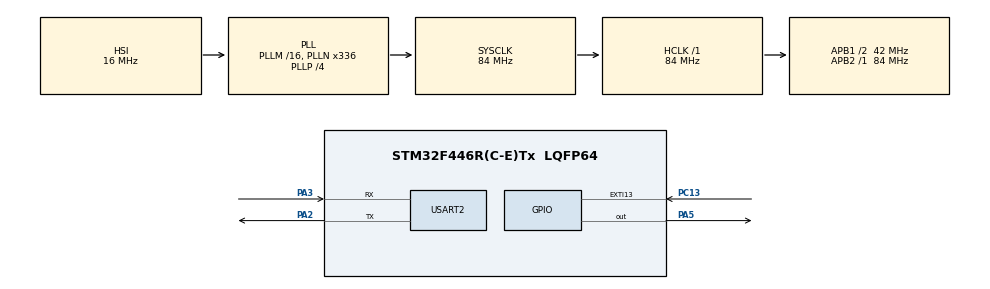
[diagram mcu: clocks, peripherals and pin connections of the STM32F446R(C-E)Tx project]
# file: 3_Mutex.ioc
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FREERTOS.Tasks01=defaultTask,0,128,StartDefaultTask,Default,NULL,Dynamic,NULL,NULL
Mcu.Family=STM32F4
Mcu.Name=STM32F446R(C-E)Tx
Mcu.Package=LQFP64
NVIC.EXTI15_10_IRQn=true\:6\:0\:true\:false\:true\:true\:true\:true\:true
NVIC.PriorityGroup=NVIC_PRIORITYGROUP_4
NVIC.TIM6_DAC_IRQn=true\:0\:0\:false\:false\:true\:false\:false\:true\:true
NVIC.TimeBase=TIM6_DAC_IRQn
NVIC.TimeBaseIP=TIM6
PA2.Mode=Asynchronous
PA2.Signal=USART2_TX
PA3.Mode=Asynchronous
PA3.Signal=USART2_RX
PA5.Signal=GPIO_Output
PC13.Signal=GPXTI13
PC14-OSC32_IN.Mode=LSE-External-Oscillator
PC14-OSC32_IN.Signal=RCC_OSC32_IN
PC15-OSC32_OUT.Mode=LSE-External-Oscillator
PC15-OSC32_OUT.Signal=RCC_OSC32_OUT
ProjectManager.HeapSize=0x200
ProjectManager.StackSize=0x400
ProjectManager.TargetToolchain=STM32CubeIDE
RCC.AHBFreq_Value=84000000
RCC.APB1CLKDivider=RCC_HCLK_DIV2
RCC.APB1Freq_Value=42000000
RCC.APB1TimFreq_Value=84000000
RCC.APB2Freq_Value=84000000
RCC.APB2TimFreq_Value=84000000
RCC.CortexFreq_Value=84000000
RCC.FLatency-AdvancedSettings=FLASH_LATENCY_2
RCC.HCLKFreq_Value=84000000
RCC.HSE_VALUE=8000000
RCC.HSI_VALUE=16000000
RCC.PLLN=336
RCC.PLLP=RCC_PLLP_DIV4
RCC.SYSCLKFreq_VALUE=84000000
RCC.SYSCLKSource=RCC_SYSCLKSOURCE_PLLCLK
RCC.USBFreq_Value=168000000
RCC.VCOOutputFreq_Value=336000000
USART2.VirtualMode=VM_ASYNC
VP_FREERTOS_VS_CMSIS_V1.Mode=CMSIS_V1
VP_SYS_VS_tim6.Mode=TIM6
board=NUCLEO-F446RE

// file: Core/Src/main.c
/* USER CODE BEGIN Header */
/**
  ******************************************************************************
  * @file           : main.c
  * @brief          : Main program body
  ******************************************************************************
  * @attention
  *
  * Copyright (c) 2026 STMicroelectronics.
  * All rights reserved.
  *
  * This software is licensed under terms that can be found in the LICENSE file
  * in the root directory of this software component.
  * If no LICENSE file comes with this software, it is provided AS-IS.
  *
  ******************************************************************************
  */
/* USER CODE END Header */
#include "main.h"

/* USER CODE BEGIN Includes */

#include "FreeRTOS.h"
#include "task.h"
#include "semphr.h"

/* USER CODE END Includes */

UART_HandleTypeDef huart2;

/* USER CODE BEGIN PV */

/************** Semaphore and Task Handles *****************/
SemaphoreHandle_t Mutex_handle;

TaskHandle_t Task01_handle, Task02_handle;
//TaskHandle_t watchDog_handle;

/************** task definition and declarations **************/

void Task01_Entry(void *arg){
	while(1){
		//take the mutex, do something and release, ownership

		xSemaphoreTake(Mutex_handle, portMAX_DELAY);

		// print UART
		HAL_UART_Transmit(&huart2, (uint8_t *)"Task 1 is running\r\n", 19, 10);
		vTaskDelay(pdMS_TO_TICKS(1000));

		xSemaphoreGive(Mutex_handle);

		// block this task so that task 2 get's a chance to run,
		// else Task1 will run at all times as it is having higher prio
		vTaskDelay(pdMS_TO_TICKS(10));

	}
}

void Task02_Entry(void *arg){
	while(1){
		//take the mutex, do something and release, ownership

		xSemaphoreTake(Mutex_handle, portMAX_DELAY);

		// print UART
		HAL_UART_Transmit(&huart2, (uint8_t *)"Task 2 is running\r\n", 19, 10);
		vTaskDelay(1000);

		xSemaphoreGive(Mutex_handle);
	}
}

//void WatchDogRefresh(void *arg){
//	while(1){
//		HAL_IWDG_Refresh(&hiwdg);
//	}
//}

/* USER CODE END PV */

void SystemClock_Config(void);
static void MX_GPIO_Init(void);
static void MX_USART2_UART_Init(void);

int main(void)
{

  /* MCU Configuration--------------------------------------------------------*/

  /* Reset of all peripherals, Initializes the Flash interface and the Systick. */
  HAL_Init();

  /* Configure the system clock */
  SystemClock_Config();

  /* Initialize all configured peripherals */
  MX_GPIO_Init();
  MX_USART2_UART_Init();
  /* USER CODE BEGIN 2 */

  /************ Create semaphore and tasks *******************/
  Mutex_handle = xSemaphoreCreateMutex();
  if(Mutex_handle == NULL){
  	  HAL_UART_Transmit(&huart2, (uint8_t *)"Mutex is not created\r\n", 22, 10);
    }else{
  	  HAL_UART_Transmit(&huart2, (uint8_t *)"Mutex is created\r\n", 18, 10);
    }
  BaseType_t task01_status, task02_status;
  task01_status = xTaskCreate(Task01_Entry, "Task01", 128, NULL, 2, &Task01_handle);
  task02_status = xTaskCreate(Task02_Entry, "Task02", 128, NULL, 1, &Task02_handle);

  if(task01_status == pdTRUE && task02_status == pdTRUE){
  	  HAL_UART_Transmit(&huart2, (uint8_t *)"Tasks are created\r\n", 19, 10);
    }else{
  	  HAL_UART_Transmit(&huart2, (uint8_t *)"Tasks are not created\r\n", 23, 10);
    }

  vTaskStartScheduler();

  /* We should never get here as control is now taken by the scheduler */
  /* USER CODE END 2 */

  /* Infinite loop */
  while (1)
  {

  }
}

void SystemClock_Config(void)
{
  RCC_OscInitTypeDef RCC_OscInitStruct = {0};
  RCC_ClkInitTypeDef RCC_ClkInitStruct = {0};

  /** Configure the main internal regulator output voltage
  */
  __HAL_RCC_PWR_CLK_ENABLE();
  __HAL_PWR_VOLTAGESCALING_CONFIG(PWR_REGULATOR_VOLTAGE_SCALE3);

  /** Initializes the RCC Oscillators according to the specified parameters
  * in the RCC_OscInitTypeDef structure.
  */
  RCC_OscInitStruct.OscillatorType = RCC_OSCILLATORTYPE_HSI;
  RCC_OscInitStruct.HSIState = RCC_HSI_ON;
  RCC_OscInitStruct.HSICalibrationValue = RCC_HSICALIBRATION_DEFAULT;
  RCC_OscInitStruct.PLL.PLLState = RCC_PLL_ON;
  RCC_OscInitStruct.PLL.PLLSource = RCC_PLLSOURCE_HSI;
  RCC_OscInitStruct.PLL.PLLM = 16;
  RCC_OscInitStruct.PLL.PLLN = 336;
  RCC_OscInitStruct.PLL.PLLP = RCC_PLLP_DIV4;
  RCC_OscInitStruct.PLL.PLLQ = 2;
  RCC_OscInitStruct.PLL.PLLR = 2;
  if (HAL_RCC_OscConfig(&RCC_OscInitStruct) != HAL_OK)
  {
    Error_Handler();
  }

  /** Initializes the CPU, AHB and APB buses clocks
  */
  RCC_ClkInitStruct.ClockType = RCC_CLOCKTYPE_HCLK|RCC_CLOCKTYPE_SYSCLK
                              |RCC_CLOCKTYPE_PCLK1|RCC_CLOCKTYPE_PCLK2;
  RCC_ClkInitStruct.SYSCLKSource = RCC_SYSCLKSOURCE_PLLCLK;
  RCC_ClkInitStruct.AHBCLKDivider = RCC_SYSCLK_DIV1;
  RCC_ClkInitStruct.APB1CLKDivider = RCC_HCLK_DIV2;
  RCC_ClkInitStruct.APB2CLKDivider = RCC_HCLK_DIV1;

  if (HAL_RCC_ClockConfig(&RCC_ClkInitStruct, FLASH_LATENCY_2) != HAL_OK)
  {
    Error_Handler();
  }
}

static void MX_USART2_UART_Init(void)
{

  huart2.Instance = USART2;
  huart2.Init.BaudRate = 115200;
  huart2.Init.WordLength = UART_WORDLENGTH_8B;
  huart2.Init.StopBits = UART_STOPBITS_1;
  huart2.Init.Parity = UART_PARITY_NONE;
  huart2.Init.Mode = UART_MODE_TX_RX;
  huart2.Init.HwFlowCtl = UART_HWCONTROL_NONE;
  huart2.Init.OverSampling = UART_OVERSAMPLING_16;
  if (HAL_UART_Init(&huart2) != HAL_OK)
  {
    Error_Handler();
  }

}

static void MX_GPIO_Init(void)
{
  GPIO_InitTypeDef GPIO_InitStruct = {0};

  /* GPIO Ports Clock Enable */
  __HAL_RCC_GPIOC_CLK_ENABLE();
  __HAL_RCC_GPIOA_CLK_ENABLE();

  /*Configure GPIO pin Output Level */
  HAL_GPIO_WritePin(GPIOA, GPIO_PIN_5, GPIO_PIN_RESET);

  /*Configure GPIO pin : PC13 */
  GPIO_InitStruct.Pin = GPIO_PIN_13;
  GPIO_InitStruct.Mode = GPIO_MODE_IT_RISING;
  GPIO_InitStruct.Pull = GPIO_NOPULL;
  HAL_GPIO_Init(GPIOC, &GPIO_InitStruct);

  /*Configure GPIO pin : PA5 */
  GPIO_InitStruct.Pin = GPIO_PIN_5;
  GPIO_InitStruct.Mode = GPIO_MODE_OUTPUT_PP;
  GPIO_InitStruct.Pull = GPIO_NOPULL;
  GPIO_InitStruct.Speed = GPIO_SPEED_FREQ_LOW;
  HAL_GPIO_Init(GPIOA, &GPIO_InitStruct);

  /* EXTI interrupt init*/
  HAL_NVIC_SetPriority(EXTI15_10_IRQn, 6, 0);
  HAL_NVIC_EnableIRQ(EXTI15_10_IRQn);

}

/* USER CODE BEGIN 4 */
void HAL_GPIO_EXTI_Callback(uint16_t GPIO_Pin){
	if(GPIO_Pin == GPIO_PIN_13){
		HAL_GPIO_TogglePin(GPIOA, GPIO_PIN_5);

		// when mutex is called from ISR, this blocks the entire Interrupts and noraml execution
		// as Mutex can't be released from ISRs (ownership concept & mutex is not ISR safe as it is blocking), so this
		// function call does not return anything and stuck without returning properly

		BaseType_t xHigherPrioTaskWoken = pdFALSE;
		xSemaphoreGiveFromISR(Mutex_handle, &xHigherPrioTaskWoken);
		portYIELD_FROM_ISR(xHigherPrioTaskWoken);
	}
}
/* USER CODE END 4 */

void HAL_TIM_PeriodElapsedCallback(TIM_HandleTypeDef *htim)
{
  if (htim->Instance == TIM6) {
    HAL_IncTick();
  }
}

void Error_Handler(void)
{
  __disable_irq();
  while (1)
  {
  }
}
